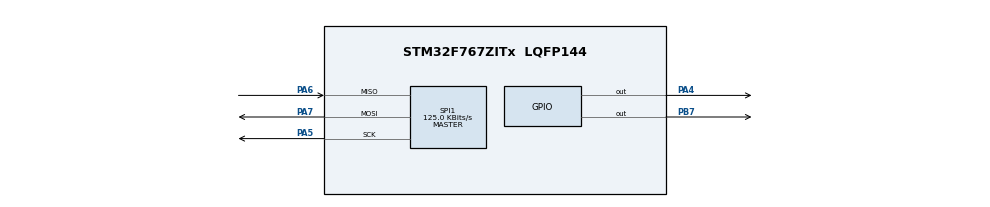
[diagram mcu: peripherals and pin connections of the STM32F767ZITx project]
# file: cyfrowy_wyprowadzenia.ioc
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Mcu.Family=STM32F7
Mcu.Name=STM32F767ZITx
Mcu.Package=LQFP144
NVIC.PriorityGroup=NVIC_PRIORITYGROUP_4
NVIC.TIM3_IRQn=true\:0\:0\:false\:false\:true\:true\:true\:true
PA4.PinState=GPIO_PIN_RESET
PA4.Signal=GPIO_Output
PA5.Mode=Full_Duplex_Master
PA5.Signal=SPI1_SCK
PA6.Mode=Full_Duplex_Master
PA6.Signal=SPI1_MISO
PA7.Mode=Full_Duplex_Master
PA7.Signal=SPI1_MOSI
PB7.PinState=GPIO_PIN_RESET
PB7.Signal=GPIO_Output
PH0/OSC_IN.Mode=HSE-External-Oscillator
PH0/OSC_IN.Signal=RCC_OSC_IN
PH1/OSC_OUT.Mode=HSE-External-Oscillator
PH1/OSC_OUT.Signal=RCC_OSC_OUT
ProjectManager.HeapSize=0x200
ProjectManager.StackSize=0x400
ProjectManager.TargetToolchain=STM32CubeIDE
RCC.AHBCLKDivider=RCC_SYSCLK_DIV4
RCC.AHBFreq_Value=4000000
RCC.APB1Freq_Value=4000000
RCC.APB1TimFreq_Value=4000000
RCC.APB2Freq_Value=4000000
RCC.APB2TimFreq_Value=4000000
RCC.CortexFreq_Value=4000000
RCC.HCLKFreq_Value=4000000
RCC.HSE_VALUE=25000000
RCC.HSI_VALUE=16000000
RCC.LSE_VALUE=32768
RCC.USBFreq_Value=96000000
RCC.VCOOutputFreq_Value=192000000
SPI1.BaudRatePrescaler=SPI_BAUDRATEPRESCALER_32
SPI1.CalculateBaudRate=125.0 KBits/s
SPI1.DataSize=SPI_DATASIZE_8BIT
SPI1.Direction=SPI_DIRECTION_2LINES
SPI1.Mode=SPI_MODE_MASTER
SPI1.VirtualType=VM_MASTER
TIM3.Period=100-1
TIM3.Prescaler=400 - 1
VP_TIM3_VS_ClockSourceINT.Mode=Internal
board=custom

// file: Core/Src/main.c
/* USER CODE BEGIN Header */
/**
  ******************************************************************************
  * @file           : main.c
  * @brief          : Main program body
  ******************************************************************************
  * @attention
  *
  * Copyright (c) 2023 STMicroelectronics.
  * All rights reserved.
  *
  * This software is licensed under terms that can be found in the LICENSE file
  * in the root directory of this software component.
  * If no LICENSE file comes with this software, it is provided AS-IS.
  *
  ******************************************************************************
  */
/* USER CODE END Header */
#include "main.h"
#include "spi.h"
#include "tim.h"
#include "gpio.h"

/* USER CODE BEGIN Includes */
#include "ABP2DANT150PGSA3.h"
/* USER CODE END Includes */

/* USER CODE BEGIN PV */
int flag = 0;
/* USER CODE END PV */

void SystemClock_Config(void);

/* USER CODE BEGIN 0 */
int _write(int fd, char* ptr, int len)
{
    //HAL_UART_Transmit(&huart2, (uint8_t *) ptr, len, HAL_MAX_DELAY);
    return len;
}
/* USER CODE END 0 */

int main(void)
{

  /* MCU Configuration--------------------------------------------------------*/

  /* Reset of all peripherals, Initializes the Flash interface and the Systick. */
  HAL_Init();

  /* Configure the system clock */
  SystemClock_Config();

  /* Initialize all configured peripherals */
  MX_GPIO_Init();
  MX_SPI1_Init();
  MX_TIM3_Init();
  /* USER CODE BEGIN 2 */

uint32_t dataRaw = 0;
double pressure = 0;
HAL_Delay(3);
HAL_TIM_Base_Start_IT(&htim3);
  /* USER CODE END 2 */

  /* Infinite loop */
  /* USER CODE BEGIN WHILE */
  while (1)
  {
	if(flag == 1)
    {
	  	  flag = 0;
	  	  if (ABP2Write() == 0)
	  	  {
      	dataRaw = ABP2GetRaw();
      	char stringRaw[11];
      	sprintf(stringRaw, "%u", (unsigned int)dataRaw);

      	pressure = ABP2Calc (dataRaw);
      	char stringPressure[8];
      	//sprintf(stringPressure, "%u", (unsigned int)pressure);

      	sprintf(stringPressure, "%.2f ", pressure);
      	HAL_UART_Transmit(&huart2, (uint8_t*)&stringPressure, 8, 1000);
      	HAL_UART_Transmit(&huart2, (uint8_t*)" ", 1, 1000);
	  	  }
    }
    /* USER CODE END WHILE */

  }
}

void SystemClock_Config(void)
{
  RCC_OscInitTypeDef RCC_OscInitStruct = {0};
  RCC_ClkInitTypeDef RCC_ClkInitStruct = {0};

  /** Configure the main internal regulator output voltage
  */
  __HAL_RCC_PWR_CLK_ENABLE();
  __HAL_PWR_VOLTAGESCALING_CONFIG(PWR_REGULATOR_VOLTAGE_SCALE3);

  /** Initializes the RCC Oscillators according to the specified parameters
  * in the RCC_OscInitTypeDef structure.
  */
  RCC_OscInitStruct.OscillatorType = RCC_OSCILLATORTYPE_HSI;
  RCC_OscInitStruct.HSIState = RCC_HSI_ON;
  RCC_OscInitStruct.HSICalibrationValue = RCC_HSICALIBRATION_DEFAULT;
  RCC_OscInitStruct.PLL.PLLState = RCC_PLL_NONE;
  if (HAL_RCC_OscConfig(&RCC_OscInitStruct) != HAL_OK)
  {
    Error_Handler();
  }

  /** Initializes the CPU, AHB and APB buses clocks
  */
  RCC_ClkInitStruct.ClockType = RCC_CLOCKTYPE_HCLK|RCC_CLOCKTYPE_SYSCLK
                              |RCC_CLOCKTYPE_PCLK1|RCC_CLOCKTYPE_PCLK2;
  RCC_ClkInitStruct.SYSCLKSource = RCC_SYSCLKSOURCE_HSI;
  RCC_ClkInitStruct.AHBCLKDivider = RCC_SYSCLK_DIV4;
  RCC_ClkInitStruct.APB1CLKDivider = RCC_HCLK_DIV1;
  RCC_ClkInitStruct.APB2CLKDivider = RCC_HCLK_DIV1;

  if (HAL_RCC_ClockConfig(&RCC_ClkInitStruct, FLASH_LATENCY_0) != HAL_OK)
  {
    Error_Handler();
  }
}

/* USER CODE BEGIN 4 */
void HAL_TIM_PeriodElapsedCallback(TIM_HandleTypeDef *htim)
{
  // Check which version of the timer triggered this callback and toggle LED
  if (htim == &htim3 )
  {
	  flag = 1;
  }
}
/* USER CODE END 4 */

void Error_Handler(void)
{
  __disable_irq();
  while (1)
  {
  }
}
